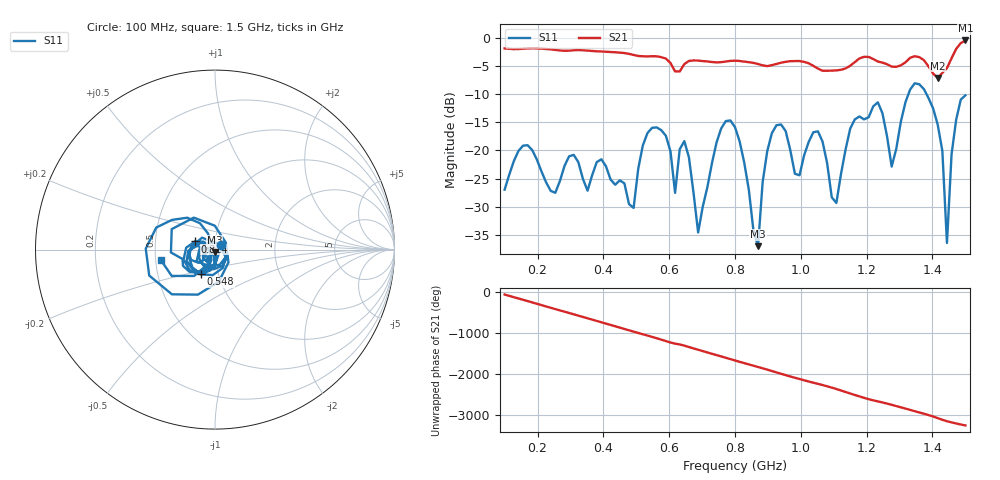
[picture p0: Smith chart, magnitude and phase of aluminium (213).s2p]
! NanoVNA-App
! Date: 2025-09-25 14:56:56
! Start: 100MHz Stop: 1,5GHz Points: 101
! S-Parameter data: F S11 S21 S12 S22
# Hz S RI R 50
!  Frequency  S11_Real  S11_Imag  S21_Real  S21_Imag  S12_Real  S12_Imag  S22_Real  S22_Imag
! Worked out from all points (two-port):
!   101 points, 100 MHz to 1.5 GHz, reference 50 ohm
!   highest |S21| = -0.50 dB at 1.5 GHz (marker M1); lowest = -7.1 dB at 1.416 GHz (marker M2)
!   |S21| within 3 dB of the highest: start of sweep to 578.1 MHz; 1.459 GHz to end of sweep (the widest 2 of 4)
!   lowest |S11| = -37.0 dB at 870 MHz (marker M3), VSWR 1.03, Z = 49.9 - j1.41 ohm
!   |S11| at or under -10 dB: start of sweep to 1.327 GHz; 1.382 GHz to end of sweep
!   S12 and S22 are empty: the file has one direction only
!   S11 on the Smith chart (normalised r, x): 100 MHz: 1.07, +0.06; 548 MHz: 0.82, -0.23; 814 MHz: 0.80, +0.07; 1.5 GHz: 0.53, -0.07
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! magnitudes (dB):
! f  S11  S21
! 100 MHz  -27.0  -1.9
! 338 MHz  -25.1  -2.2
! 492 MHz  -30.2  -3.1
! 548 MHz  -16.0  -3.3
! 576 MHz  -16.4  -3.5
! 618 MHz  -27.5  -6.0
! 646 MHz  -18.4  -4.7
! 688 MHz  -34.6  -4.1
! 800 MHz  -15.9  -4.1
! 814 MHz  -18.4  -4.1
! 870 MHz  -37.0  -4.7
! 912 MHz  -16.9  -4.9
! 996 MHz  -24.4  -4.1
! 1.038 GHz  -16.8  -5.0
! 1.108 GHz  -29.3  -5.8
! 1.234 GHz  -11.5  -4.2
! 1.276 GHz  -22.9  -5.1
! 1.346 GHz  -8.1  -3.3
! 1.416 GHz  -15.5  -7.1
! 1.444 GHz  -36.4  -5.4
! 1.458 GHz  -20.7  -3.6
! 1.5 GHz  -10.2  -0.5
